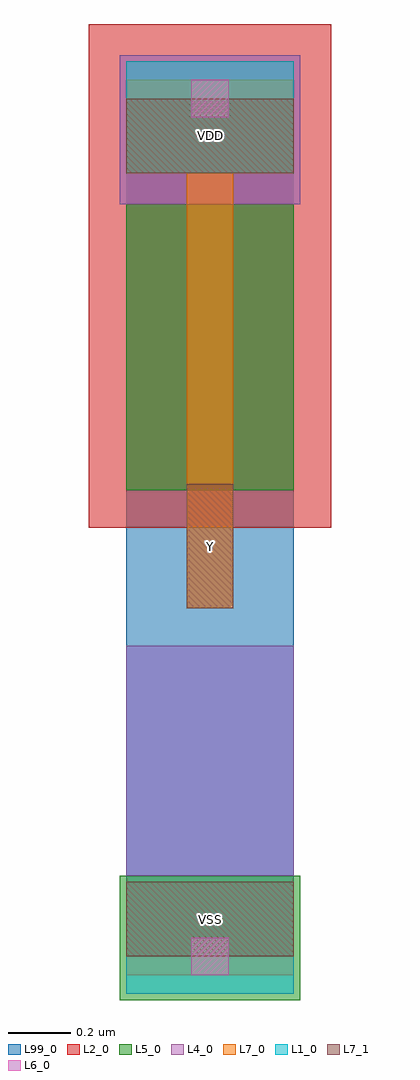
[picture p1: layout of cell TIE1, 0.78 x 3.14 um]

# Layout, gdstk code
import gdstk
lib = gdstk.Library(unit=1e-6, precision=5e-10)
def R(c, l, rs):  # rectangles x0, y0, x1, y1
    for r in rs: c.add(gdstk.rectangle(r[:2], r[2:], *l))
L1_0 = (1, 0)
L2_0 = (2, 0)
L4_0 = (4, 0)
L5_0 = (5, 0)
L6_0 = (6, 0)
L7_0 = (7, 0)
L7_1 = (7, 1)
L99_0 = (99, 0)

tie1 = lib.new_cell('TIE1')
R(tie1, L1_0, [(0,-0.12,0.54,0.24), (0,2.52,0.54,2.88)])
R(tie1, L2_0, [(-0.12,1.38,0.66,3)])
R(tie1, L4_0, [(0,0.26,0.54,1), (-0.02,2.42,0.56,2.9)])
R(tie1, L5_0, [(-0.02,-0.14,0.56,0.26), (0,1.5,0.54,2.42)])
R(tie1, L6_0, [(0.21,-0.06,0.33,0.06), (0.21,2.7,0.33,2.82)])
R(tie1, L7_0, [(0,-0.06,0.54,0.24), (0.195,1.12,0.345,2.76), (0,2.52,0.54,2.82)])
R(tie1, L7_1, [(0,0,0.54,0.24), (0.195,1.12,0.345,1.52), (0,2.52,0.54,2.76)])
R(tie1, L99_0, [(0,0,0.54,2.76)])
tie1.add(gdstk.Label('Y', (0.27,1.32), layer=7, texttype=3))
tie1.add(gdstk.Label('VDD', (0.27,2.64), layer=7, texttype=3))
tie1.add(gdstk.Label('VSS', (0.27,0.12), layer=7, texttype=3))

lib.write_gds('TIE1.gds')
